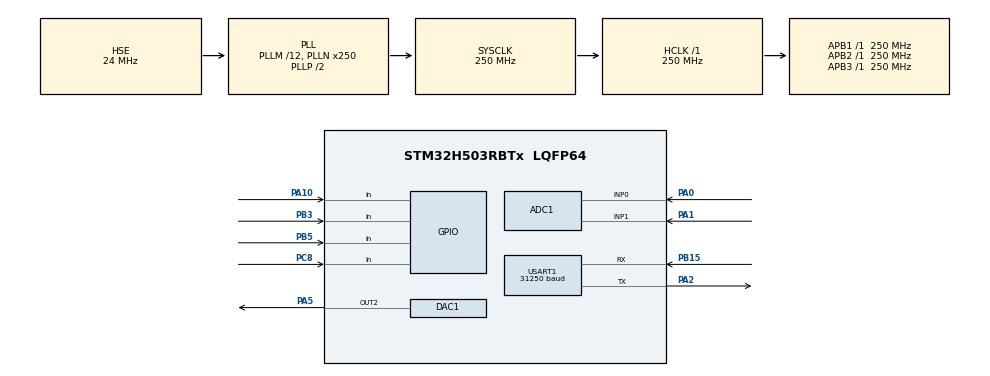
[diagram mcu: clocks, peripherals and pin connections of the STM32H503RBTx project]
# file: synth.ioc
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ADC1.Channel-0\#ChannelRegularConversion=ADC_CHANNEL_0
ADC1.Channel-1\#ChannelRegularConversion=ADC_CHANNEL_1
ADC1.EnableAnalogWatchDog1=false
ADC1.MonitoredBy-0\#ChannelRegularConversion=__NULL
ADC1.MonitoredBy-1\#ChannelRegularConversion=__NULL
ADC1.NbrOfConversion=2
ADC1.NbrOfConversionFlag=1
ADC1.OffsetNumber-0\#ChannelRegularConversion=ADC_OFFSET_NONE
ADC1.OffsetNumber-1\#ChannelRegularConversion=ADC_OFFSET_NONE
ADC1.Rank-0\#ChannelRegularConversion=1
ADC1.Rank-1\#ChannelRegularConversion=2
ADC1.SamplingTime-0\#ChannelRegularConversion=ADC_SAMPLETIME_2CYCLES_5
ADC1.SamplingTime-1\#ChannelRegularConversion=ADC_SAMPLETIME_2CYCLES_5
ADC1.master=1
BOOTPATH.BootPathName=LEGACY
BOOTPATH.UserSelectedBootPath=LEGACY
CORTEX_M33_NS.Number-Cortex_Memory_Protection_Unit_Region0_OTP_RO_AREAS_Settings=MPU_REGION_NUMBER0
CORTEX_M33_NS.default_mode_Activation=1
DAC1.DAC_Channel-DAC_OUT2=DAC_CHANNEL_2
DAC1.DAC_DMADoubleDataMode-DAC_OUT2=ENABLE
DAC1.DAC_Trigger-DAC_OUT2=DAC_TRIGGER_T1_TRGO
DAC1.DAC_UserTrimming-DAC_OUT2=DAC_TRIMMING_USER
DAC1.WaveGeneration-DAC_OUT2=DISABLE
GPDMA1.ADDRESSING2D_GPDMACH7=DISABLE
GPDMA1.CIRCULARMODE_GPDMACH7=ENABLE
GPDMA1.DESTDATAWIDTH_GPDMACH7=DMA_DEST_DATAWIDTH_WORD
GPDMA1.DIRECTION_GPDMACH7=DMA_MEMORY_TO_PERIPH
GPDMA1.IPHANDLE_GPDMACH7-SIMPLEREQUEST_GPDMACH7=__NULL
GPDMA1.PRIORITY_LL_CIRCULAR_GPDMACH7=DMA_LOW_PRIORITY_HIGH_WEIGHT
GPDMA1.RECAP_GPDMACH7=DAC1
GPDMA1.REQUEST_GPDMACH7=GPDMA1_REQUEST_DAC1_CH2
GPDMA1.SRCDATAWIDTH_GPDMACH7=DMA_SRC_DATAWIDTH_WORD
GPDMA1.SRCINC_GPDMACH7=DMA_SINC_INCREMENTED
GPDMA1.TRIGGERPOLARITY_GPDMACH7=DMA_TRIG_POLARITY_MASKED
Mcu.Family=STM32H5
Mcu.Name=STM32H503RBTx
Mcu.Package=LQFP64
NVIC.GPDMA1_Channel7_IRQn=true\:0\:0\:false\:false\:true\:false\:true\:true
NVIC.PriorityGroup=NVIC_PRIORITYGROUP_4
NVIC.USART1_IRQn=true\:2\:0\:true\:false\:true\:true\:true\:true
PA0.Signal=ADCx_INP0
PA1.Signal=ADCx_INP1
PA10.Signal=GPIO_Input
PA13(JTMS/SWDIO).GPIO_Label=T_SWDIO
PA13(JTMS/SWDIO).Mode=Serial_Wire
PA13(JTMS/SWDIO).Signal=DEBUG_JTMS-SWDIO
PA14(JTCK/SWCLK).GPIO_Label=T_SWCLK
PA14(JTCK/SWCLK).Mode=Serial_Wire
PA14(JTCK/SWCLK).Signal=DEBUG_JTCK-SWCLK
PA2.Mode=Asynchronous
PA2.Signal=USART1_TX
PA5.Signal=COMP_DAC12_group
PB15.Mode=Asynchronous
PB15.Signal=USART1_RX
PB3(JTDO/TRACESWO).Signal=GPIO_Input
PB5.Signal=GPIO_Input
PC8.Signal=GPIO_Input
PH0-OSC_IN(PH0).Mode=HSE-External-Oscillator
PH0-OSC_IN(PH0).Signal=RCC_OSC_IN
PH1-OSC_OUT(PH1).Mode=HSE-External-Oscillator
PH1-OSC_OUT(PH1).Signal=RCC_OSC_OUT
ProjectManager.HeapSize=0x200
ProjectManager.StackSize=0x400
ProjectManager.TargetToolchain=STM32CubeIDE
RCC.ADCFreq_Value=250000000
RCC.AHBFreq_Value=250000000
RCC.APB1Freq_Value=250000000
RCC.APB1TimFreq_Value=250000000
RCC.APB2Freq_Value=250000000
RCC.APB2TimFreq_Value=250000000
RCC.APB3Freq_Value=250000000
RCC.CSI_VALUE=4000000
RCC.CortexFreq_Value=250000000
RCC.DACLowPowerCLockSelection=RCC_DACLPCLKSOURCE_LSI
RCC.EPOD_VALUE=24000000
RCC.HCLKFreq_Value=250000000
RCC.HSE_VALUE=24000000
RCC.HSI48_VALUE=48000000
RCC.HSIDiv=RCC_HSI_DIV1
RCC.HSI_VALUE=64000000
RCC.LSE_VALUE=32768
RCC.LSIRC_VALUE=32000
RCC.PLLM=12
RCC.PLLN=250
RCC.PLLSourceVirtual=RCC_PLL1_SOURCE_HSE
RCC.SYSCLKFreq_VALUE=250000000
RCC.SYSCLKSource=RCC_SYSCLKSOURCE_PLLCLK
RCC.USBFreq_Value=48000000
RCC.VCOOutputFreq_Value=500000000
SH.ADCx_INP0.0=ADC1_INP0,IN0-Single-Ended
SH.ADCx_INP1.0=ADC1_INP1,IN1-Single-Ended
SH.COMP_DAC12_group.0=DAC1_OUT2,DAC_OUT2
TIM1.AutoReloadPreload=TIM_AUTORELOAD_PRELOAD_ENABLE
TIM1.PeriodNoDither=5208
TIM1.Prescaler=0
TIM1.TIM_MasterOutputTrigger=TIM_TRGO_UPDATE
USART1.BaudRate=31250
USART1.VirtualMode-Asynchronous=VM_ASYNC
VP_BOOTPATH_VS_BOOTPATH.Mode=BP_Activate
VP_CORTEX_M33_NS_VS_Hclk.Mode=Hclk_Mode
VP_GPDMA1_VS_GPDMACH7.Mode=SIMPLEREQUEST_GPDMACH7
VP_ICACHE_VS_ICACHE.Mode=DirectMappedCache
VP_MEMORYMAP_VS_MEMORYMAP.Mode=CurAppReg
VP_PWR_VS_LPOM.Mode=PowerOptimisation
VP_PWR_VS_SECSignals.Mode=Security/Privilege
VP_TIM1_VS_ClockSourceINT.Mode=Internal
board=NUCLEO-H503RB

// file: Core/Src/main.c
/* USER CODE BEGIN Header */
/**
  ******************************************************************************
  * @file           : main.c
  * @brief          : Main program body
  ******************************************************************************
  * @attention
  *
  * Copyright (c) 2026 STMicroelectronics.
  * All rights reserved.
  *
  * This software is licensed under terms that can be found in the LICENSE file
  * in the root directory of this software component.
  * If no LICENSE file comes with this software, it is provided AS-IS.
  *
  ******************************************************************************
  */
/* USER CODE END Header */
#include "main.h"
#include <math.h>

/* USER CODE BEGIN PM */
#define SAMPLE_RATE 48000
#define BUFFER_LENGTH 64
#define TABLE_LENGTH 1024

#define SIN(x) ((int32_t)(sineLookupTable[x]))
#define SAW(x) ((int32_t)(((float)((int32_t)(4.0f*(x)) % 4095) - 2048.0f))) //this is some bullshit right here
#define SQUARE(x) ((int32_t)((x > TABLE_LENGTH/2 ? 2047 : -2048)))

/* USER CODE END PM */

ADC_HandleTypeDef hadc1;

DAC_HandleTypeDef hdac1;
DMA_NodeTypeDef Node_GPDMA1_Channel7;
DMA_QListTypeDef List_GPDMA1_Channel7;
DMA_HandleTypeDef handle_GPDMA1_Channel7;

TIM_HandleTypeDef htim1;

UART_HandleTypeDef huart1;

/* USER CODE BEGIN PV */

volatile uint32_t buffer[BUFFER_LENGTH * 2]; // double buffering remember?
volatile uint8_t buffer_half = 1; // start generating a signal for the first half of the buffer after the DMA has processed it.
volatile uint32_t count = 0;

volatile uint8_t midi_rx;
volatile uint8_t midi_state = 0; // state 0: look for status, state 1: look for data1, state 2: look for data 2.

volatile uint8_t midi_status;
volatile uint8_t midi_data1;
volatile uint8_t midi_data2;

volatile uint8_t note_pressed[128];

const int16_t sineLookupTable[] = {
0, 12, 25, 37, 50, 62, 75, 87, 100, 113, 125, 138, 150, 163, 175, 188, 200, 213, 225, 238, 250, 263, 275, 287, 300, 312, 325, 337, 350, 362, 374, 387,
399, 411, 424, 436, 448, 460, 473, 485, 497, 509, 521, 533, 546, 558, 570, 582, 594, 606, 618, 630, 642, 654, 666, 677, 689, 701, 713, 725, 736, 748, 760, 771,
783, 795, 806, 818, 829, 841, 852, 864, 875, 886, 898, 909, 920, 931, 942, 954, 965, 976, 987, 998, 1009, 1020, 1030, 1041, 1052, 1063, 1074, 1084, 1095, 1106, 1116, 1127,
1137, 1147, 1158, 1168, 1178, 1189, 1199, 1209, 1219, 1229, 1239, 1249, 1259, 1269, 1279, 1289, 1298, 1308, 1318, 1327, 1337, 1346, 1356, 1365, 1375, 1384, 1393, 1402, 1411, 1420, 1429, 1438,
1447, 1456, 1465, 1474, 1482, 1491, 1500, 1508, 1517, 1525, 1533, 1542, 1550, 1558, 1566, 1574, 1582, 1590, 1598, 1606, 1614, 1621, 1629, 1637, 1644, 1652, 1659, 1666, 1674, 1681, 1688, 1695,
1702, 1709, 1716, 1723, 1729, 1736, 1743, 1749, 1756, 1762, 1768, 1775, 1781, 1787, 1793, 1799, 1805, 1811, 1817, 1823, 1828, 1834, 1840, 1845, 1850, 1856, 1861, 1866, 1871, 1876, 1881, 1886,
1891, 1896, 1901, 1905, 1910, 1914, 1919, 1923, 1927, 1932, 1936, 1940, 1944, 1948, 1951, 1955, 1959, 1962, 1966, 1969, 1973, 1976, 1979, 1983, 1986, 1989, 1992, 1994, 1997, 2000, 2003, 2005,
2008, 2010, 2012, 2015, 2017, 2019, 2021, 2023, 2025, 2027, 2028, 2030, 2032, 2033, 2035, 2036, 2037, 2038, 2039, 2040, 2041, 2042, 2043, 2044, 2045, 2045, 2046, 2046, 2046, 2047, 2047, 2047,
2047, 2047, 2047, 2047, 2046, 2046, 2046, 2045, 2045, 2044, 2043, 2042, 2041, 2040, 2039, 2038, 2037, 2036, 2035, 2033, 2032, 2030, 2028, 2027, 2025, 2023, 2021, 2019, 2017, 2015, 2012, 2010,
2008, 2005, 2003, 2000, 1997, 1994, 1992, 1989, 1986, 1983, 1979, 1976, 1973, 1969, 1966, 1962, 1959, 1955, 1951, 1948, 1944, 1940, 1936, 1932, 1927, 1923, 1919, 1914, 1910, 1905, 1901, 1896,
1891, 1886, 1881, 1876, 1871, 1866, 1861, 1856, 1850, 1845, 1840, 1834, 1828, 1823, 1817, 1811, 1805, 1799, 1793, 1787, 1781, 1775, 1768, 1762, 1756, 1749, 1743, 1736, 1729, 1723, 1716, 1709,
1702, 1695, 1688, 1681, 1674, 1666, 1659, 1652, 1644, 1637, 1629, 1621, 1614, 1606, 1598, 1590, 1582, 1574, 1566, 1558, 1550, 1542, 1533, 1525, 1517, 1508, 1500, 1491, 1482, 1474, 1465, 1456,
1447, 1438, 1429, 1420, 1411, 1402, 1393, 1384, 1375, 1365, 1356, 1346, 1337, 1327, 1318, 1308, 1298, 1289, 1279, 1269, 1259, 1249, 1239, 1229, 1219, 1209, 1199, 1189, 1178, 1168, 1158, 1147,
1137, 1127, 1116, 1106, 1095, 1084, 1074, 1063, 1052, 1041, 1030, 1020, 1009, 998, 987, 976, 965, 954, 942, 931, 920, 909, 898, 886, 875, 864, 852, 841, 829, 818, 806, 795,
783, 771, 760, 748, 736, 725, 713, 701, 689, 677, 666, 654, 642, 630, 618, 606, 594, 582, 570, 558, 546, 533, 521, 509, 497, 485, 473, 460, 448, 436, 424, 411,
399, 387, 374, 362, 350, 337, 325, 312, 300, 287, 275, 263, 250, 238, 225, 213, 200, 188, 175, 163, 150, 138, 125, 113, 100, 87, 75, 62, 50, 37, 25, 12,
0, -13, -26, -38, -51, -63, -76, -88, -101, -114, -126, -139, -151, -164, -176, -189, -201, -214, -226, -239, -251, -264, -276, -288, -301, -313, -326, -338, -351, -363, -375, -388,
-400, -412, -425, -437, -449, -461, -474, -486, -498, -510, -522, -534, -547, -559, -571, -583, -595, -607, -619, -631, -643, -655, -667, -678, -690, -702, -714, -726, -737, -749, -761, -772,
-784, -796, -807, -819, -830, -842, -853, -865, -876, -887, -899, -910, -921, -932, -943, -955, -966, -977, -988, -999, -1010, -1021, -1031, -1042, -1053, -1064, -1075, -1085, -1096, -1107, -1117, -1128,
-1138, -1148, -1159, -1169, -1179, -1190, -1200, -1210, -1220, -1230, -1240, -1250, -1260, -1270, -1280, -1290, -1299, -1309, -1319, -1328, -1338, -1347, -1357, -1366, -1376, -1385, -1394, -1403, -1412, -1421, -1430, -1439,
-1448, -1457, -1466, -1475, -1483, -1492, -1501, -1509, -1518, -1526, -1534, -1543, -1551, -1559, -1567, -1575, -1583, -1591, -1599, -1607, -1615, -1622, -1630, -1638, -1645, -1653, -1660, -1667, -1675, -1682, -1689, -1696,
-1703, -1710, -1717, -1724, -1730, -1737, -1744, -1750, -1757, -1763, -1769, -1776, -1782, -1788, -1794, -1800, -1806, -1812, -1818, -1824, -1829, -1835, -1841, -1846, -1851, -1857, -1862, -1867, -1872, -1877, -1882, -1887,
-1892, -1897, -1902, -1906, -1911, -1915, -1920, -1924, -1928, -1933, -1937, -1941, -1945, -1949, -1952, -1956, -1960, -1963, -1967, -1970, -1974, -1977, -1980, -1984, -1987, -1990, -1993, -1995, -1998, -2001, -2004, -2006,
-2009, -2011, -2013, -2016, -2018, -2020, -2022, -2024, -2026, -2028, -2029, -2031, -2033, -2034, -2036, -2037, -2038, -2039, -2040, -2041, -2042, -2043, -2044, -2045, -2046, -2046, -2047, -2047, -2047, -2048, -2048, -2048,
-2048, -2048, -2048, -2048, -2047, -2047, -2047, -2046, -2046, -2045, -2044, -2043, -2042, -2041, -2040, -2039, -2038, -2037, -2036, -2034, -2033, -2031, -2029, -2028, -2026, -2024, -2022, -2020, -2018, -2016, -2013, -2011,
-2009, -2006, -2004, -2001, -1998, -1995, -1993, -1990, -1987, -1984, -1980, -1977, -1974, -1970, -1967, -1963, -1960, -1956, -1952, -1949, -1945, -1941, -1937, -1933, -1928, -1924, -1920, -1915, -1911, -1906, -1902, -1897,
-1892, -1887, -1882, -1877, -1872, -1867, -1862, -1857, -1851, -1846, -1841, -1835, -1829, -1824, -1818, -1812, -1806, -1800, -1794, -1788, -1782, -1776, -1769, -1763, -1757, -1750, -1744, -1737, -1730, -1724, -1717, -1710,
-1703, -1696, -1689, -1682, -1675, -1667, -1660, -1653, -1645, -1638, -1630, -1622, -1615, -1607, -1599, -1591, -1583, -1575, -1567, -1559, -1551, -1543, -1534, -1526, -1518, -1509, -1501, -1492, -1483, -1475, -1466, -1457,
-1448, -1439, -1430, -1421, -1412, -1403, -1394, -1385, -1376, -1366, -1357, -1347, -1338, -1328, -1319, -1309, -1299, -1290, -1280, -1270, -1260, -1250, -1240, -1230, -1220, -1210, -1200, -1190, -1179, -1169, -1159, -1148,
-1138, -1128, -1117, -1107, -1096, -1085, -1075, -1064, -1053, -1042, -1031, -1021, -1010, -999, -988, -977, -966, -955, -943, -932, -921, -910, -899, -887, -876, -865, -853, -842, -830, -819, -807, -796,
-784, -772, -761, -749, -737, -726, -714, -702, -690, -678, -667, -655, -643, -631, -619, -607, -595, -583, -571, -559, -547, -534, -522, -510, -498, -486, -474, -461, -449, -437, -425, -412,
-400, -388, -375, -363, -351, -338, -326, -313, -301, -288, -276, -264, -251, -239, -226, -214, -201, -189, -176, -164, -151, -139, -126, -114, -101, -88, -76, -63, -51, -38, -26, -13};

const float midiNoteFreq[128] = {
    8.176, 8.662, 9.177, 9.723, 10.301, 10.913, 11.562, 12.250,
    12.978, 13.750, 14.568, 15.434, 16.352, 17.324, 18.354, 19.445,
    20.602, 21.827, 23.125, 24.500, 25.957, 27.500, 29.135, 30.868,
    32.703, 34.648, 36.708, 38.891, 41.203, 43.654, 46.249, 48.999,
    51.913, 55.000, 58.270, 61.735, 65.406, 69.296, 73.416, 77.782,
    82.407, 87.307, 92.499, 97.999, 103.826, 110.000, 116.541, 123.471,
    130.813, 138.591, 146.832, 155.563, 164.814, 174.614, 184.997, 195.998,
    207.652, 220.000, 233.082, 246.942, 261.626, 277.183, 293.665, 311.127,
    329.628, 349.228, 369.994, 391.995, 415.305, 440.000, 466.164, 493.883,
    523.251, 554.365, 587.330, 622.254, 659.255, 698.456, 739.989, 783.991,
    830.609, 880.000, 932.328, 987.767, 1046.502, 1108.731, 1174.659, 1244.508,
    1318.510, 1396.913, 1479.978, 1567.982, 1661.219, 1760.000, 1864.655, 1975.533,
    2093.005, 2217.461, 2349.318, 2489.016, 2637.020, 2793.826, 2959.955, 3135.963,
    3322.438, 3520.000, 3729.310, 3951.066, 4186.009, 4434.922, 4698.636, 4978.032,
    5274.041, 5587.652, 5919.911, 6271.927, 6644.875, 7040.000, 7458.620, 7902.133,
    8372.018, 8869.844, 9397.273, 9956.063, 10548.082, 11175.303, 11839.822, 12543.854
};

volatile float phase = 0;
volatile float phase_increment = 0;

volatile uint8_t waveform = 2; // 0 = sin, 1 = saw, 2 = square.

volatile float filter_cutoff_hz = 18000.0f;
volatile float filter_cutoff_norm = 0.45f;

// SVFs (low-pass)
volatile float svf_low = 0;
volatile float svf_band = 0;

volatile float filter_resonance = 1.95f;

volatile uint16_t filter_attack = 2;
volatile uint16_t filter_decay = 2;
volatile float filter_sustain = 1.0;
volatile uint16_t filter_release = 2;

volatile uint16_t volume_attack = 2;
volatile uint16_t volume_decay = 2;
volatile float volume_sustain = 1.0;
volatile uint16_t volume_release = 2;
volatile float amplitude = 1;

volatile uint32_t volume_ticks = 0; // 1 tick = 1/SAMPLE_RATE seconds.
volatile uint32_t filter_ticks = 0; // 1 tick = 1/SAMPLE_RATE seconds.

uint8_t volume_envelope_flag = 0; // 0 = attack, 1 = decay, 2 = sustain, 3 = release
uint8_t filter_envelope_flag = 0; // 0 = attack, 1 = decay, 2 = sustain, 3 = release

/* USER CODE END PV */

void SystemClock_Config(void);
static void MPU_Config(void);
static void MX_GPIO_Init(void);
static void MX_GPDMA1_Init(void);
static void MX_ADC1_Init(void);
static void MX_TIM1_Init(void);
static void MX_ICACHE_Init(void);
static void MX_DAC1_Init(void);
static void MX_USART1_UART_Init(void);
/* USER CODE BEGIN PFP */

//static void MIDI_Callback(void);
//static void DMA_Callback(void);

/* USER CODE END PFP */

/* USER CODE BEGIN 0 */

// Convert MIDI CC value (0-127) to cutoff frequency (20Hz - 20000Hz)
float midi_to_cutoff_hz(uint8_t midi_value) {
    const float min_hz = 20.0f;
    const float max_hz = 18000.0f;

    // Normalize to 0-1
    float norm = (float)midi_value / 127.0f;

    // Exponential mapping (sounds linear to ears)
    // cutoff = min * (max/min)^norm
    return min_hz * powf(max_hz / min_hz, norm);
}

float midi_to_resonance(uint8_t midi_value) {
	float norm = (float)midi_value / 127.0f;
	    // Map 0-127 to 0-1.95 using quadratic curve (feels natural)
	return 1.95f-1.95f * norm * norm;
}

float fast_g(float x) {
    // x is normalized cutoff (0 to 0.45)
    // tan(pi * x) ≈ pi*x + (pi*x)^3 / 3
    float pi_x = 3.14159265f * x;
    float pi_x3 = pi_x * pi_x * pi_x;
    return pi_x + pi_x3 / 3.0f;
}

void DMA_Callback(void){
	buffer_half = (buffer_half+1)%2; // switch to the other half of the buffer.
	float local_phase = phase;
	float local_phase_increment = phase_increment;

	float local_amplitude = amplitude;
	uint32_t local_volume_ticks = volume_ticks;
	uint16_t local_volume_attack = volume_attack;
	uint16_t local_volume_decay = volume_decay;
	float local_volume_sustain = volume_sustain;
	uint16_t local_volume_release = volume_release;
	uint8_t local_volume_envelope_flag = volume_envelope_flag;

	float filter_env_scale;
	uint32_t local_filter_ticks = filter_ticks;
	uint16_t local_filter_attack = filter_attack;
	uint16_t local_filter_decay = filter_decay;
	float local_filter_sustain = filter_sustain;
	uint16_t local_filter_release = filter_release;
	uint8_t local_filter_envelope_flag = filter_envelope_flag;

	uint32_t *local_buffer = buffer + BUFFER_LENGTH*buffer_half;

	float local_filter_cutoff_norm = filter_cutoff_norm;
	float local_resonance = filter_resonance;

	if (phase_increment == 0){
		for(uint16_t i = 0; i < BUFFER_LENGTH; i++){
			local_buffer[i] = 2048;
		}
		svf_low = 0;
		svf_band = 0;
	}
	else{

		int32_t phase_int;
		float sample_float;
		int32_t sample;
		uint32_t output;
		float g; // = tanf(3.14159265f * local_filter_cutoff_norm);
		float low;
		float high;
		float band;

		for(uint16_t i = 0; i < BUFFER_LENGTH; i++){
			if (local_phase >= TABLE_LENGTH)
			    local_phase = local_phase - TABLE_LENGTH;
			switch(local_volume_envelope_flag){
			case 0:
				// attack section
				local_amplitude = 0.9+0.1*local_volume_ticks/local_volume_attack; //min amplitude is 0.9.
				if (local_volume_ticks >= local_volume_attack){
					local_volume_envelope_flag = 1;
					local_volume_ticks = 0;
				}

				break;
			case 1:
				// decay section
				local_amplitude = 1.0 - (1-local_volume_sustain)*local_volume_ticks/local_volume_decay;
				if (local_volume_ticks >= local_volume_decay){
									local_volume_envelope_flag = 2;
									local_volume_ticks = 0;
				}
				break;
			case 2:
				// sustain section
				local_amplitude = local_volume_sustain;
				break;
			case 3:
				// release section (let's just not implement this for now. I didn't plan to before.)
				break;

			}
			local_volume_ticks++;

			// filter envelope
			switch(local_filter_envelope_flag){
			case 0:
				// attack section
				filter_env_scale = 0.2 + (0.8*local_filter_ticks)/local_filter_attack;
				if (local_filter_ticks >= local_filter_attack){
					local_filter_envelope_flag = 1;
					local_filter_ticks = 0;
				}

				break;
			case 1:
				// decay section
				// linear decrease from 1.0 to 1-0.1*sustain.
				// (1-sustain)
				// 1.0f - (1.0f - target) * t;
				filter_env_scale = 0.2 + 0.8*(1.0f - (1.0f - local_filter_sustain) * local_filter_ticks/local_filter_decay);
				if (local_filter_ticks >= local_filter_decay){
									local_filter_envelope_flag = 2;
									local_filter_ticks = 0;
				}
				break;
			case 2:
				// sustain section
				filter_env_scale = 0.2 + 0.8*local_filter_sustain;
				local_filter_ticks = 0;
				break;
			case 3:
				// release section (let's just not implement this for now. I didn't plan to before.)
				break;

			}
			local_filter_ticks++;
			// generate current sample
			switch(waveform){
			case 0:
				phase_int = (int32_t)local_phase;
				sample = SIN(phase_int);
				break;
			case 1:
				sample = SAW(local_phase);
				break;
			case 2:
				sample = SQUARE(local_phase);
				break;
			default:
				sample = 2048;
				break;
			}
			// update phase
			local_phase = local_phase + local_phase_increment;

			// apply lowpass filter with resonance
			g = tanf(3.14159265f * local_filter_cutoff_norm*filter_env_scale);
						if (g > 6.5f)
						if (g < 0.001f) g = 0.001f;

			low = svf_low+g*svf_band;
			high = sample-low-local_resonance*svf_band;
			band = svf_band+g*high;

			svf_low = low;
			svf_band = band;

			if (low > 2047) low = 2047;
			else if (low < -2048) low = -2048;

			output = 2048 + (int32_t)(low*local_amplitude);
			if (output > 4095) output = 4095;
			else if (output < 0) output = 0;

			// write sample to buffer.

			local_buffer[i] = output;

		}

	}
	volume_ticks = local_volume_ticks;
	filter_ticks = local_filter_ticks;
	volume_envelope_flag = local_volume_envelope_flag;
	filter_envelope_flag = local_filter_envelope_flag;
	phase = local_phase;

}

void MIDI_Callback(void){

    switch (midi_state){
		case 0:
			if ((midi_rx & 0x80) == 0){
				// this is a data byte.
				midi_data1 = midi_rx;
				midi_state = 2;
			}
			else {
				midi_status = midi_rx;
				midi_state = 1;
			}
			break;

		case 1:
			// first data byte
			midi_data1 = midi_rx;
			midi_state = 2;
			break;

		case 2:
			// second data byte. Now we process the entire message.
			midi_data2 = midi_rx;
		    switch (midi_status & 0xF0) {
		        case 0x80:  // Note Off
		            note_pressed[midi_data1] = 0;
		            break;

		        case 0x90:  // Note On

		            note_pressed[midi_data1] = 1;
		            volume_envelope_flag = 0;
		            volume_ticks = 0;
		            filter_envelope_flag = 0;
		            filter_ticks = 0;

		            break;

		        case 0xB0: // control change
		        	uint16_t temp;
		        	float tempf;
		        	switch(midi_data1){
		        		case 73: // Attack 1
		        			temp = 1 + midi_data2 * 512; // attack can be anywhere from 0-1.5 seconds
							volume_attack = temp;
		        			break;
		        		case 75: // Decay 1
		        			temp = 1 + midi_data2 * 512; // decay can be anywhere from 0-1.5 seconds
		        			volume_decay = temp;
		        			break;
		        		case 79: // Sustain 1
		        			tempf = 0.9 + (0.1*midi_data2)/127.0; // sustain can be anywhere from 0.9-1. For some reason anything under 0.9 is inaudible.
		        			volume_sustain = tempf;
		        			break;
		        		case 72: // Release 1
		        			temp = 1 + midi_data2 * 512; // release can be anywhere from 0-1.5 seconds
		        			volume_release = temp;
		        			break;
		        		case 80: // Attack 2
		        			temp = 1 + midi_data2 * 512; // attack can be anywhere from 0-1.5 seconds
		        			filter_attack = temp;
		        			break;
		        		case 81: // Decay 2
		        			temp = 1 + midi_data2 * 512; // decay can be anywhere from 0-1.5 seconds
		        			filter_decay = temp;
		        			break;
		        		case 82: // Sustain 2
		        			tempf = (1.0*midi_data2)/127.0; // sustain can be anywhere from 0-1.
		        			filter_sustain = tempf;
		        			break;
		        		case 83: // Release 2
		        			temp = 1 + midi_data2 * 512; // release can be anywhere from 0-1.5 seconds
		        			filter_release = temp;
		        			break;
		        		case 85: // Master volume (maybe don't worry about this)
		        			break;
		        		case 74: // Filter Cutoff
		        			tempf = midi_to_cutoff_hz(midi_data2);
		        			filter_cutoff_hz = tempf;

		        			tempf =  tempf / SAMPLE_RATE;

		        			 // Optional: clamp to safe range
		        			if (tempf > 0.45f) tempf = 0.45f;
		        			filter_cutoff_norm = tempf;

		        			break;
		        		case 71: // Filter Resonance
		        			tempf = midi_to_resonance(midi_data2); // resonance can be anywhere from 0.5-10.
		        			if (tempf > 1.0f) tempf = 1.0f;
		        			filter_resonance = tempf;
		        			break;

		        	}

		        default:
		            // Ignore other messages (Pitch Bend, etc.)
		            break;
		    }
		    float local_phase_increment = 0;
			for(uint16_t i = 0; i < 128; i++){
					if (note_pressed[127-i] == 1){
						local_phase_increment = (midiNoteFreq[127-i] * (float)TABLE_LENGTH)/ (float)SAMPLE_RATE;
						break;
					}
				}
			// update phase increment
			phase_increment = local_phase_increment;
			midi_state = 0;
		    break;

    }

	HAL_UART_Receive_IT(&huart1, &midi_rx, 1);

}

/* USER CODE END 0 */

int main(void)
{

  /* USER CODE BEGIN 1 */
   	filter_cutoff_norm = filter_cutoff_hz / SAMPLE_RATE;
	if (filter_cutoff_norm > 0.45f) filter_cutoff_norm = 0.45f;
  /* USER CODE END 1 */

  /* MCU Configuration--------------------------------------------------------*/

  /* MPU Configuration--------------------------------------------------------*/
  MPU_Config();

  /* Reset of all peripherals, Initializes the Flash interface and the Systick. */
  HAL_Init();

  /* Configure the system clock */
  SystemClock_Config();

  /* Initialize all configured peripherals */
  MX_GPIO_Init();
  MX_GPDMA1_Init();
  MX_ADC1_Init();
  MX_TIM1_Init();
  MX_ICACHE_Init();
  MX_DAC1_Init();
  MX_USART1_UART_Init();
  /* USER CODE BEGIN 2 */
  for (int16_t i = 0; i < BUFFER_LENGTH*2; i++){
		  buffer[i] = 2048;
  }
  //start DMA
  HAL_DAC_Start_DMA(&hdac1, DAC_CHANNEL_2, (uint32_t*)buffer, BUFFER_LENGTH*2, DAC_ALIGN_12B_R);
  HAL_TIM_Base_Start(&htim1);

  HAL_UART_Receive_IT(&huart1, &midi_rx, 1);

  uint32_t DebounceDelay = 20;    // The Ddebounce Time; increase it if the output still flickers

  uint32_t LastDebounceTime_D = 0;  // The Last Time The Output Pin Was Toggled
  uint8_t BtnState_D = 0;               // The Current Reading From The Input Pin
  uint8_t LastBtnState_D = 0;       // The previous reading from The Input Pin
  uint8_t TempBtnReading_D;
  uint8_t local_waveform = waveform;
  /* USER CODE END 2 */

  /* Infinite loop */
  /* USER CODE BEGIN WHILE */
  while (1)
  {

	  // DECAY / SAW WAVE BUTTON
	  TempBtnReading_D = HAL_GPIO_ReadPin(GPIOB, GPIO_PIN_3); // read the state of the switch into a local variable:
			  if(TempBtnReading_D != LastBtnState_D) // If the switch changed, due to noise or pressing:
			  {
				  LastDebounceTime_D = HAL_GetTick(); // reset the debouncing timer
			  }
			  if((HAL_GetTick() - LastDebounceTime_D) > DebounceDelay)
			  {
				  if(TempBtnReading_D != BtnState_D)
				  {
					  BtnState_D = TempBtnReading_D;
					  if(BtnState_D == 1)
					  {

						  local_waveform = (local_waveform+1)%3;
						  waveform = local_waveform;
					  }
				  }
			  }
			  LastBtnState_D = TempBtnReading_D;

    /* USER CODE END WHILE */

  }
}

void SystemClock_Config(void)
{
  RCC_OscInitTypeDef RCC_OscInitStruct = {0};
  RCC_ClkInitTypeDef RCC_ClkInitStruct = {0};

  /** Configure the main internal regulator output voltage
  */
  __HAL_PWR_VOLTAGESCALING_CONFIG(PWR_REGULATOR_VOLTAGE_SCALE0);

  while(!__HAL_PWR_GET_FLAG(PWR_FLAG_VOSRDY)) {}

  /** Initializes the RCC Oscillators according to the specified parameters
  * in the RCC_OscInitTypeDef structure.
  */
  RCC_OscInitStruct.OscillatorType = RCC_OSCILLATORTYPE_LSI|RCC_OSCILLATORTYPE_HSE;
  RCC_OscInitStruct.HSEState = RCC_HSE_ON;
  RCC_OscInitStruct.LSIState = RCC_LSI_ON;
  RCC_OscInitStruct.PLL.PLLState = RCC_PLL_ON;
  RCC_OscInitStruct.PLL.PLLSource = RCC_PLL1_SOURCE_HSE;
  RCC_OscInitStruct.PLL.PLLM = 12;
  RCC_OscInitStruct.PLL.PLLN = 250;
  RCC_OscInitStruct.PLL.PLLP = 2;
  RCC_OscInitStruct.PLL.PLLQ = 2;
  RCC_OscInitStruct.PLL.PLLR = 2;
  RCC_OscInitStruct.PLL.PLLRGE = RCC_PLL1_VCIRANGE_1;
  RCC_OscInitStruct.PLL.PLLVCOSEL = RCC_PLL1_VCORANGE_WIDE;
  RCC_OscInitStruct.PLL.PLLFRACN = 0;
  if (HAL_RCC_OscConfig(&RCC_OscInitStruct) != HAL_OK)
  {
    Error_Handler();
  }

  /** Initializes the CPU, AHB and APB buses clocks
  */
  RCC_ClkInitStruct.ClockType = RCC_CLOCKTYPE_HCLK|RCC_CLOCKTYPE_SYSCLK
                              |RCC_CLOCKTYPE_PCLK1|RCC_CLOCKTYPE_PCLK2
                              |RCC_CLOCKTYPE_PCLK3;
  RCC_ClkInitStruct.SYSCLKSource = RCC_SYSCLKSOURCE_PLLCLK;
  RCC_ClkInitStruct.AHBCLKDivider = RCC_SYSCLK_DIV1;
  RCC_ClkInitStruct.APB1CLKDivider = RCC_HCLK_DIV1;
  RCC_ClkInitStruct.APB2CLKDivider = RCC_HCLK_DIV1;
  RCC_ClkInitStruct.APB3CLKDivider = RCC_HCLK_DIV1;

  if (HAL_RCC_ClockConfig(&RCC_ClkInitStruct, FLASH_LATENCY_5) != HAL_OK)
  {
    Error_Handler();
  }

  /** Configure the programming delay
  */
  __HAL_FLASH_SET_PROGRAM_DELAY(FLASH_PROGRAMMING_DELAY_2);
}

static void MX_ADC1_Init(void)
{

  ADC_ChannelConfTypeDef sConfig = {0};

  /** Common config
  */
  hadc1.Instance = ADC1;
  hadc1.Init.ClockPrescaler = ADC_CLOCK_ASYNC_DIV8;
  hadc1.Init.Resolution = ADC_RESOLUTION_12B;
  hadc1.Init.DataAlign = ADC_DATAALIGN_RIGHT;
  hadc1.Init.ScanConvMode = ADC_SCAN_ENABLE;
  hadc1.Init.EOCSelection = ADC_EOC_SINGLE_CONV;
  hadc1.Init.LowPowerAutoWait = DISABLE;
  hadc1.Init.ContinuousConvMode = DISABLE;
  hadc1.Init.NbrOfConversion = 2;
  hadc1.Init.DiscontinuousConvMode = DISABLE;
  hadc1.Init.ExternalTrigConv = ADC_SOFTWARE_START;
  hadc1.Init.ExternalTrigConvEdge = ADC_EXTERNALTRIGCONVEDGE_NONE;
  hadc1.Init.DMAContinuousRequests = DISABLE;
  hadc1.Init.SamplingMode = ADC_SAMPLING_MODE_NORMAL;
  hadc1.Init.Overrun = ADC_OVR_DATA_PRESERVED;
  hadc1.Init.OversamplingMode = DISABLE;
  if (HAL_ADC_Init(&hadc1) != HAL_OK)
  {
    Error_Handler();
  }

  /** Configure Regular Channel
  */
  sConfig.Channel = ADC_CHANNEL_0;
  sConfig.Rank = ADC_REGULAR_RANK_1;
  sConfig.SamplingTime = ADC_SAMPLETIME_2CYCLES_5;
  sConfig.SingleDiff = ADC_SINGLE_ENDED;
  sConfig.OffsetNumber = ADC_OFFSET_NONE;
  sConfig.Offset = 0;
  if (HAL_ADC_ConfigChannel(&hadc1, &sConfig) != HAL_OK)
  {
    Error_Handler();
  }

  /** Configure Regular Channel
  */
  sConfig.Channel = ADC_CHANNEL_1;
  sConfig.Rank = ADC_REGULAR_RANK_2;
  if (HAL_ADC_ConfigChannel(&hadc1, &sConfig) != HAL_OK)
  {
    Error_Handler();
  }

}

static void MX_DAC1_Init(void)
{

  DAC_ChannelConfTypeDef sConfig = {0};

  /** DAC Initialization
  */
  hdac1.Instance = DAC1;
  if (HAL_DAC_Init(&hdac1) != HAL_OK)
  {
    Error_Handler();
  }

  /** DAC channel OUT2 config
  */
  sConfig.DAC_HighFrequency = DAC_HIGH_FREQUENCY_INTERFACE_MODE_DISABLE;
  sConfig.DAC_DMADoubleDataMode = ENABLE;
  sConfig.DAC_SignedFormat = DISABLE;
  sConfig.DAC_SampleAndHold = DAC_SAMPLEANDHOLD_DISABLE;
  sConfig.DAC_Trigger = DAC_TRIGGER_T1_TRGO;
  sConfig.DAC_OutputBuffer = DAC_OUTPUTBUFFER_ENABLE;
  sConfig.DAC_ConnectOnChipPeripheral = DAC_CHIPCONNECT_EXTERNAL;
  sConfig.DAC_UserTrimming = DAC_TRIMMING_USER;
  sConfig.DAC_TrimmingValue = 1;
  if (HAL_DAC_ConfigChannel(&hdac1, &sConfig, DAC_CHANNEL_2) != HAL_OK)
  {
    Error_Handler();
  }

}

static void MX_GPDMA1_Init(void)
{

  /* Peripheral clock enable */
  __HAL_RCC_GPDMA1_CLK_ENABLE();

  /* GPDMA1 interrupt Init */
    HAL_NVIC_SetPriority(GPDMA1_Channel7_IRQn, 0, 0);
    HAL_NVIC_EnableIRQ(GPDMA1_Channel7_IRQn);

}

static void MX_ICACHE_Init(void)
{

  /** Enable instruction cache in 1-way (direct mapped cache)
  */
  if (HAL_ICACHE_ConfigAssociativityMode(ICACHE_1WAY) != HAL_OK)
  {
    Error_Handler();
  }
  if (HAL_ICACHE_Enable() != HAL_OK)
  {
    Error_Handler();
  }

}

static void MX_TIM1_Init(void)
{

  TIM_ClockConfigTypeDef sClockSourceConfig = {0};
  TIM_MasterConfigTypeDef sMasterConfig = {0};

  htim1.Instance = TIM1;
  htim1.Init.Prescaler = 0;
  htim1.Init.CounterMode = TIM_COUNTERMODE_UP;
  htim1.Init.Period = 5208;
  htim1.Init.ClockDivision = TIM_CLOCKDIVISION_DIV1;
  htim1.Init.RepetitionCounter = 0;
  htim1.Init.AutoReloadPreload = TIM_AUTORELOAD_PRELOAD_ENABLE;
  if (HAL_TIM_Base_Init(&htim1) != HAL_OK)
  {
    Error_Handler();
  }
  sClockSourceConfig.ClockSource = TIM_CLOCKSOURCE_INTERNAL;
  if (HAL_TIM_ConfigClockSource(&htim1, &sClockSourceConfig) != HAL_OK)
  {
    Error_Handler();
  }
  sMasterConfig.MasterOutputTrigger = TIM_TRGO_UPDATE;
  sMasterConfig.MasterOutputTrigger2 = TIM_TRGO2_RESET;
  sMasterConfig.MasterSlaveMode = TIM_MASTERSLAVEMODE_DISABLE;
  if (HAL_TIMEx_MasterConfigSynchronization(&htim1, &sMasterConfig) != HAL_OK)
  {
    Error_Handler();
  }

}

static void MX_USART1_UART_Init(void)
{

  huart1.Instance = USART1;
  huart1.Init.BaudRate = 31250;
  huart1.Init.WordLength = UART_WORDLENGTH_8B;
  huart1.Init.StopBits = UART_STOPBITS_1;
  huart1.Init.Parity = UART_PARITY_NONE;
  huart1.Init.Mode = UART_MODE_TX_RX;
  huart1.Init.HwFlowCtl = UART_HWCONTROL_NONE;
  huart1.Init.OverSampling = UART_OVERSAMPLING_16;
  huart1.Init.OneBitSampling = UART_ONE_BIT_SAMPLE_DISABLE;
  huart1.Init.ClockPrescaler = UART_PRESCALER_DIV1;
  huart1.AdvancedInit.AdvFeatureInit = UART_ADVFEATURE_NO_INIT;
  if (HAL_UART_Init(&huart1) != HAL_OK)
  {
    Error_Handler();
  }
  if (HAL_UARTEx_SetTxFifoThreshold(&huart1, UART_TXFIFO_THRESHOLD_1_8) != HAL_OK)
  {
    Error_Handler();
  }
  if (HAL_UARTEx_SetRxFifoThreshold(&huart1, UART_RXFIFO_THRESHOLD_1_8) != HAL_OK)
  {
    Error_Handler();
  }
  if (HAL_UARTEx_DisableFifoMode(&huart1) != HAL_OK)
  {
    Error_Handler();
  }

}

static void MX_GPIO_Init(void)
{
  GPIO_InitTypeDef GPIO_InitStruct = {0};

  /* GPIO Ports Clock Enable */
  __HAL_RCC_GPIOH_CLK_ENABLE();
  __HAL_RCC_GPIOA_CLK_ENABLE();
  __HAL_RCC_GPIOB_CLK_ENABLE();
  __HAL_RCC_GPIOC_CLK_ENABLE();

  /*Configure GPIO pin : PC8 */
  GPIO_InitStruct.Pin = GPIO_PIN_8;
  GPIO_InitStruct.Mode = GPIO_MODE_INPUT;
  GPIO_InitStruct.Pull = GPIO_NOPULL;
  HAL_GPIO_Init(GPIOC, &GPIO_InitStruct);

  /*Configure GPIO pin : PA10 */
  GPIO_InitStruct.Pin = GPIO_PIN_10;
  GPIO_InitStruct.Mode = GPIO_MODE_INPUT;
  GPIO_InitStruct.Pull = GPIO_NOPULL;
  HAL_GPIO_Init(GPIOA, &GPIO_InitStruct);

  /*Configure GPIO pins : PB3 PB5 */
  GPIO_InitStruct.Pin = GPIO_PIN_3|GPIO_PIN_5;
  GPIO_InitStruct.Mode = GPIO_MODE_INPUT;
  GPIO_InitStruct.Pull = GPIO_NOPULL;
  HAL_GPIO_Init(GPIOB, &GPIO_InitStruct);

}

 /* MPU Configuration */

void MPU_Config(void)
{
  MPU_Region_InitTypeDef MPU_InitStruct = {0};
  MPU_Attributes_InitTypeDef MPU_AttributesInit = {0};

  /* Disables the MPU */
  HAL_MPU_Disable();

  /** Initializes and configures the Region 0 and the memory to be protected
  */
  MPU_InitStruct.Enable = MPU_REGION_ENABLE;
  MPU_InitStruct.Number = MPU_REGION_NUMBER0;
  MPU_InitStruct.BaseAddress = 0x08FFF000;
  MPU_InitStruct.LimitAddress = 0x08FFFFFF;
  MPU_InitStruct.AttributesIndex = MPU_ATTRIBUTES_NUMBER0;
  MPU_InitStruct.AccessPermission = MPU_REGION_ALL_RO;
  MPU_InitStruct.DisableExec = MPU_INSTRUCTION_ACCESS_DISABLE;
  MPU_InitStruct.IsShareable = MPU_ACCESS_NOT_SHAREABLE;

  HAL_MPU_ConfigRegion(&MPU_InitStruct);

  /** Initializes and configures the Attribute 0 and the memory to be protected
  */
  MPU_AttributesInit.Number = MPU_ATTRIBUTES_NUMBER0;
  MPU_AttributesInit.Attributes = INNER_OUTER(MPU_NOT_CACHEABLE);

  HAL_MPU_ConfigMemoryAttributes(&MPU_AttributesInit);
  /* Enables the MPU */
  HAL_MPU_Enable(MPU_PRIVILEGED_DEFAULT);

}

void Error_Handler(void)
{
  __disable_irq();
  while (1)
  {
  }
}
